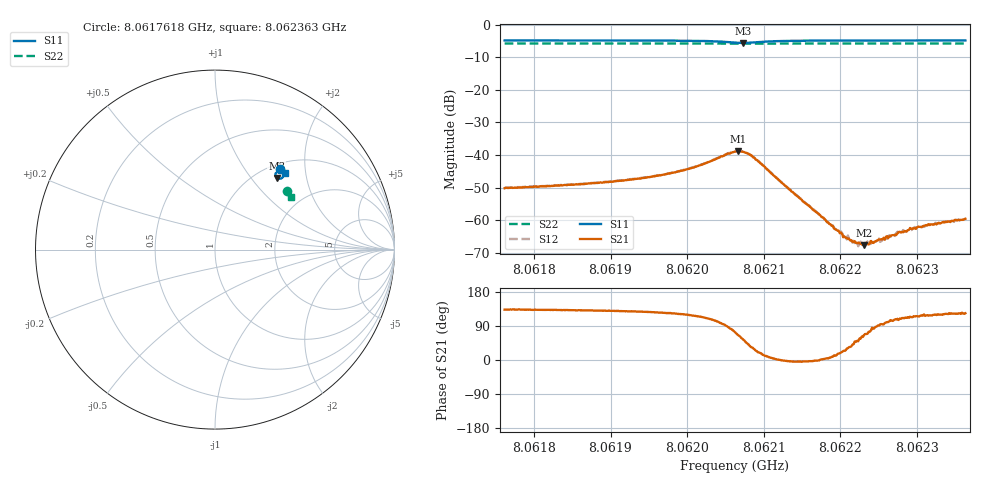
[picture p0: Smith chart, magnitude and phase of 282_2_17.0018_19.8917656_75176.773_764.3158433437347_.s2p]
#  HZ  S  RI  R  50.00
! Rohde & Schwarz Vector Network Analyzer
! Rohde-Schwarz,ZNB20-2Port,1311601062101988,3.16
! Created: UTC 3/20/2024, 11:04:44 PM
! freq[Hz]  re:S11  im:S11  re:S21  im:S21  re:S12  im:S12  re:S22  im:S22
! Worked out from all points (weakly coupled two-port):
!   401 points, 8.0617618 GHz to 8.062363 GHz, reference 50 ohm
!   highest |S21| = -38.73 dB at 8.0620669 GHz (marker M1); lowest = -67.8 dB at 8.0622307 GHz (marker M2)
!   lowest |S11| = -5.6 dB at 8.0620729 GHz (marker M3), VSWR 3.24, Z = 61.2 + j67.8 ohm
!   |S11| at or under -10 dB: nowhere
!   |S22| runs from -5.8 to -5.7 dB; largest |S21 - S12| = 0.00096
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8.06176185e9  0.3619 0.4481  -0.00211 0.00226  -0.00198 0.00241  0.4031 0.3251
8.06186253e9  0.369 0.4418  -0.00233 0.00269  -0.0022 0.00286  0.407 0.3201
8.06191964e9  0.3736 0.4372  -0.00256 0.00322  -0.00241 0.00335  0.4093 0.3171
8.06196322e9  0.3773 0.4321  -0.00281 0.00397  -0.0026 0.00413  0.4107 0.3148
8.0620068e9  0.3814 0.4227  -0.00293 0.00566  -0.00265 0.00587  0.4124 0.3121
8.0620624e9  0.3598 0.3944  0.00326 0.0108  0.0039 0.0106  0.4129 0.3086
8.06206691e9  0.353 0.3953  0.00486 0.0105  0.00556 0.0101  0.4128 0.3086
8.06207292e9  0.3446 0.3998  0.00654 0.00909  0.00724 0.00861  0.4126 0.3085
8.06208043e9  0.338 0.4096  0.00787 0.00665  0.00842 0.00617  0.4128 0.3087
8.06208945e9  0.3375 0.4218  0.00772 0.00358  0.00813 0.00325  0.4132 0.3088
8.06213153e9  0.3584 0.4395  0.00308 -0.000149  0.0031 -0.000371  0.4157 0.3074
8.06216308e9  0.3673 0.4385  0.00148 -8.04e-05  0.00147 -0.000137  0.4175 0.3056
8.06219614e9  0.3729 0.4364  0.000663 0.00019  0.000701 0.00012  0.4189 0.3039
8.06220666e9  0.3741 0.4356  0.000485 0.000228  0.000526 0.000245  0.4191 0.3034
8.06221568e9  0.3753 0.4352  0.000354 0.000305  0.000359 0.000273  0.4193 0.3029
8.06222169e9  0.376 0.4347  0.000281 0.00034  0.000295 0.000343  0.4196 0.3025
8.06223071e9  0.377 0.4342  0.000166 0.000372  0.000211 0.000355  0.4201 0.3019
8.06223972e9  0.3778 0.4335  0.000104 0.000473  0.000127 0.000417  0.4202 0.3016
8.06226377e9  0.3802 0.4321  -0.000119 0.000548  -7.65e-05 0.000582  0.4212 0.3004
8.06229833e9  0.3831 0.43  -0.000319 0.000663  -0.000306 0.000711  0.4225 0.2985
8.06231186e9  0.3841 0.4291  -0.000386 0.000741  -0.000349 0.000765  0.423 0.2979
8.06236295e9  0.3877 0.4263  -0.000576 0.000875  -0.000523 0.00091  0.4249 0.2951
